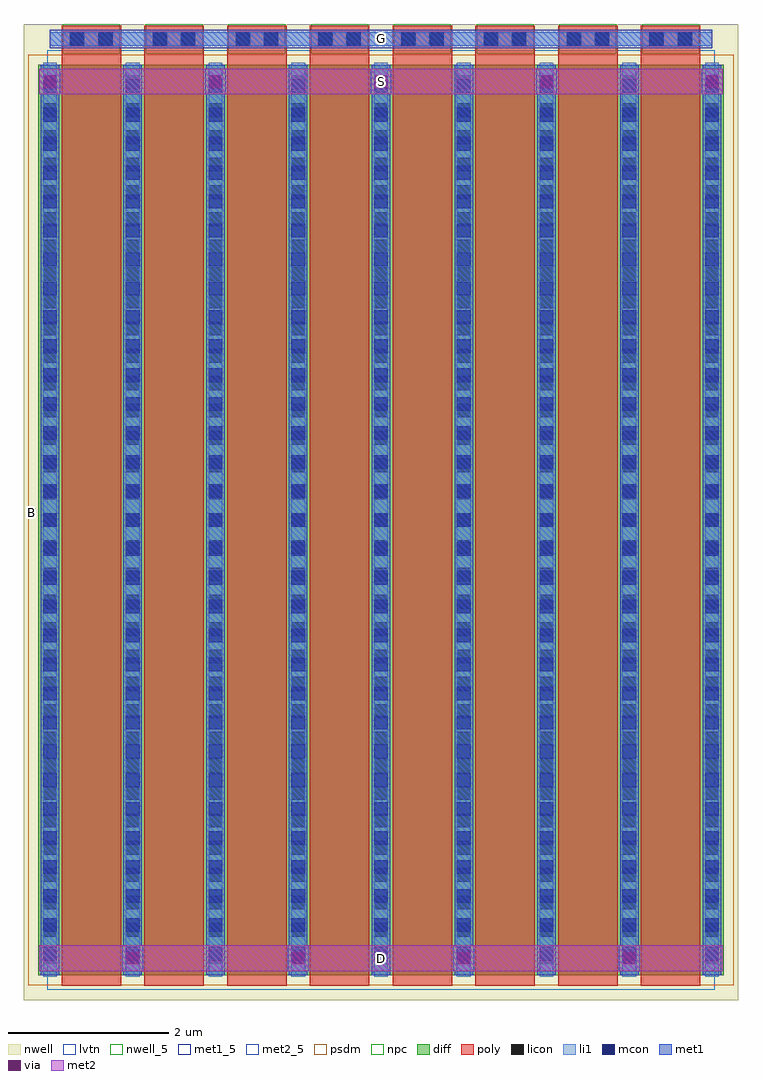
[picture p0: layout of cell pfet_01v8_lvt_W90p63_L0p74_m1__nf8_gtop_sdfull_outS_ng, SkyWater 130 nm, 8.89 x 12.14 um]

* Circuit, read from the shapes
.subckt pfet_01v8_lvt_W90p63_L0p74_m1__nf8_gtop_sdfull_outS_ng B D G S
XM1 D G S B sky130_fd_pr__pfet_01v8_lvt w=11.33 l=0.74 m=8
.ends

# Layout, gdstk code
import gdstk
lib = gdstk.Library(unit=1e-6, precision=1e-09)
def R(c, l, rs):  # rectangles x0, y0, x1, y1
    for r in rs: c.add(gdstk.rectangle(r[:2], r[2:], *l))
def A(c, l, x, y, w, h, nx, ny, dx, dy):  # array of equal rectangles
    R(c, l, [(x+i*dx, y+j*dy, x+i*dx+w, y+j*dy+h) for i in range(nx) for j in range(ny)])
nwell_5 = (64, 5)
nwell = (64, 20)
diff = (65, 20)
poly = (66, 20)
licon = (66, 44)
li1 = (67, 20)
mcon = (67, 44)
met1_5 = (68, 5)
met1 = (68, 20)
via = (68, 44)
met2_5 = (69, 5)
met2 = (69, 20)
psdm = (94, 20)
npc = (95, 20)
lvtn = (125, 44)

sky130_fd_pr__pfet_01v8_ = lib.new_cell('sky130_fd_pr__pfet_01v8_lvt_DEZ2MK')
R(sky130_fd_pr__pfet_01v8_, nwell, [(-4.445,-6.155,4.445,5.985)])
R(sky130_fd_pr__pfet_01v8_, diff, [(-4.265,-5.845,4.265,5.485)])
A(sky130_fd_pr__pfet_01v8_, poly, -3.975, -5.975, 0.74, 11.945, 8, 1, 1.03, 0)
A(sky130_fd_pr__pfet_01v8_, licon, -4.205, -5.705, 0.17, 0.17, 9, 33, 1.03, 0.34)
R(sky130_fd_pr__pfet_01v8_, licon, [(-3.86,5.72,-3.69,5.89), (-3.52,5.72,-3.35,5.89), (-2.83,5.72,-2.66,5.89), (-2.49,5.72,-2.32,5.89), (-1.8,5.72,-1.63,5.89), (-1.46,5.72,-1.29,5.89), (-0.77,5.72,-0.6,5.89), (-0.43,5.72,-0.26,5.89), (0.26,5.72,0.43,5.89), (0.6,5.72,0.77,5.89), (1.29,5.72,1.46,5.89), (1.63,5.72,1.8,5.89), (2.32,5.72,2.49,5.89), (2.66,5.72,2.83,5.89), (3.35,5.72,3.52,5.89), (3.69,5.72,3.86,5.89)])
A(sky130_fd_pr__pfet_01v8_, li1, -4.205, -5.865, 0.17, 11.37, 9, 1, 1.03, 0)
R(sky130_fd_pr__pfet_01v8_, li1, [(-4.12,5.72,4.12,5.89)])
A(sky130_fd_pr__pfet_01v8_, mcon, -4.205, -5.665, 0.17, 0.17, 9, 31, 1.03, 0.36)
R(sky130_fd_pr__pfet_01v8_, mcon, [(-3.87,5.72,-3.7,5.89), (-3.51,5.72,-3.34,5.89), (-2.84,5.72,-2.67,5.89), (-2.48,5.72,-2.31,5.89), (-1.81,5.72,-1.64,5.89), (-1.45,5.72,-1.28,5.89), (-0.78,5.72,-0.61,5.89), (-0.42,5.72,-0.25,5.89), (0.25,5.72,0.42,5.89), (0.61,5.72,0.78,5.89), (1.28,5.72,1.45,5.89), (1.64,5.72,1.81,5.89), (2.31,5.72,2.48,5.89), (2.67,5.72,2.84,5.89), (3.34,5.72,3.51,5.89), (3.7,5.72,3.87,5.89)])
A(sky130_fd_pr__pfet_01v8_, met1, -4.235, -5.845, 0.23, 11.33, 9, 1, 1.03, 0)
A(sky130_fd_pr__pfet_01v8_, met1, -3.955, 5.69, 0.7, 0.03, 8, 2, 1.03, 0.2)
R(sky130_fd_pr__pfet_01v8_, met1, [(-4.12,5.72,4.12,5.89)])
R(sky130_fd_pr__pfet_01v8_, psdm, [(-4.39,-5.97,4.39,5.61)])
A(sky130_fd_pr__pfet_01v8_, npc, -3.96, 5.62, 0.71, 0.37, 8, 1, 1.03, 0)
R(sky130_fd_pr__pfet_01v8_, lvtn, [(-4.155,-6.025,4.155,5.665)])
sky130_fd_pr__pfet_01v8_.add(gdstk.Label('D0', (-4.12,-0.18), layer=67, texttype=5))
sky130_fd_pr__pfet_01v8_.add(gdstk.Label('G', (3.605,5.805), layer=67, texttype=5))
sky130_fd_pr__pfet_01v8_.add(gdstk.Label('G', (2.575,5.805), layer=67, texttype=5))
sky130_fd_pr__pfet_01v8_.add(gdstk.Label('G', (1.545,5.805), layer=67, texttype=5))
sky130_fd_pr__pfet_01v8_.add(gdstk.Label('G', (0.515,5.805), layer=67, texttype=5))
sky130_fd_pr__pfet_01v8_.add(gdstk.Label('G', (-0.515,5.805), layer=67, texttype=5))
sky130_fd_pr__pfet_01v8_.add(gdstk.Label('G', (-1.545,5.805), layer=67, texttype=5))
sky130_fd_pr__pfet_01v8_.add(gdstk.Label('G', (-2.575,5.805), layer=67, texttype=5))
sky130_fd_pr__pfet_01v8_.add(gdstk.Label('G', (-3.605,5.805), layer=67, texttype=5))
sky130_fd_pr__pfet_01v8_.add(gdstk.Label('S1', (-3.09,-0.18), layer=67, texttype=5))
sky130_fd_pr__pfet_01v8_.add(gdstk.Label('D2', (-2.06,-0.18), layer=67, texttype=5))
sky130_fd_pr__pfet_01v8_.add(gdstk.Label('S3', (-1.03,-0.18), layer=67, texttype=5))
sky130_fd_pr__pfet_01v8_.add(gdstk.Label('D4', (0,-0.18), layer=67, texttype=5))
sky130_fd_pr__pfet_01v8_.add(gdstk.Label('S5', (1.03,-0.18), layer=67, texttype=5))
sky130_fd_pr__pfet_01v8_.add(gdstk.Label('D6', (2.06,-0.18), layer=67, texttype=5))
sky130_fd_pr__pfet_01v8_.add(gdstk.Label('S7', (3.09,-0.18), layer=67, texttype=5))

pfet_01v8_lvt_w90p63_l0p = lib.new_cell('pfet_01v8_lvt_W90p63_L0p74_m1__nf8_gtop_sdfull_outS_ng')
R(pfet_01v8_lvt_w90p63_l0p, nwell_5, [(0.05,6.02,0.15,6.12)])
R(pfet_01v8_lvt_w90p63_l0p, nwell, [(0.05,6.02,0.15,6.12)])
R(pfet_01v8_lvt_w90p63_l0p, met1_5, [(0.325,11.845,8.565,12.075)])
A(pfet_01v8_lvt_w90p63_l0p, met1, 1.225, 0.36, 0.26, 0.32, 4, 1, 2.06, 0)
A(pfet_01v8_lvt_w90p63_l0p, met1, 0.195, 11.27, 0.26, 0.32, 5, 1, 2.06, 0)
R(pfet_01v8_lvt_w90p63_l0p, met1, [(0.325,11.845,8.565,12.075)])
A(pfet_01v8_lvt_w90p63_l0p, via, 1.28, 0.445, 0.15, 0.15, 4, 1, 2.06, 0)
A(pfet_01v8_lvt_w90p63_l0p, via, 0.25, 11.355, 0.15, 0.15, 5, 1, 2.06, 0)
R(pfet_01v8_lvt_w90p63_l0p, met2_5, [(0.19,0.36,8.7,0.68), (0.19,11.27,8.7,11.59)])
R(pfet_01v8_lvt_w90p63_l0p, met2, [(0.19,0.36,8.7,0.68), (0.19,11.27,8.7,11.59)])
pfet_01v8_lvt_w90p63_l0p.add(gdstk.Reference(sky130_fd_pr__pfet_01v8_, (4.445,6.155)))
pfet_01v8_lvt_w90p63_l0p.add(gdstk.Label('S', (4.445,11.43), layer=69, texttype=5))
pfet_01v8_lvt_w90p63_l0p.add(gdstk.Label('D', (4.445,0.52), layer=69, texttype=5))
pfet_01v8_lvt_w90p63_l0p.add(gdstk.Label('G', (4.445,11.96), layer=68, texttype=5))
pfet_01v8_lvt_w90p63_l0p.add(gdstk.Label('B', (0.1,6.07), layer=64, texttype=5))

lib.write_gds('pfet_01v8_lvt_W90p63_L0p74_m1__nf8_gtop_sdfull_outS_ng.gds')
